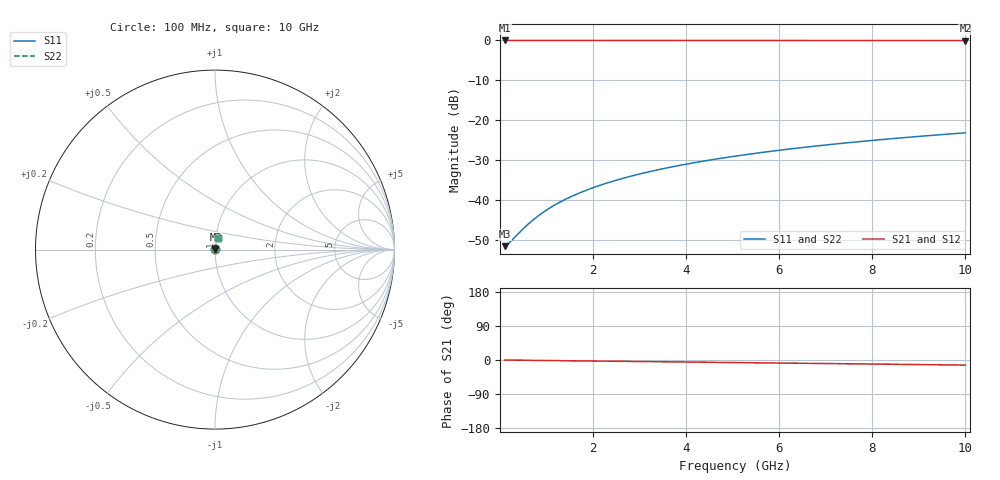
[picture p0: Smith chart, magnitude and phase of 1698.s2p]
# Hz S RI R 50.00
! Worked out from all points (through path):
!   100 points, 100 MHz to 10 GHz, reference 50 ohm
!   highest |S21| = -0.02 dB at 100 MHz (marker M1); lowest = 0.0 dB at 10 GHz (marker M2)
!   group delay of S21, straight-line fit = 3.71 ps
!   lowest |S11| = -51.5 dB at 100 MHz (marker M3), VSWR 1.01, Z = 50.3 + j0.0699 ohm
!   |S11| at or under -10 dB: start of sweep to end of sweep
!   |S22| runs from -51.5 to -23.2 dB; largest |S21 - S12| = 0
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1e8  0.00255 0.000696  0.9974 -0.00233  0.9974 -0.00233  0.00255 0.000696
2e8  0.00257 0.00139  0.9974 -0.00465  0.9974 -0.00465  0.00257 0.00139
5e8  0.00264 0.00348  0.9973 -0.0116  0.9973 -0.0116  0.00264 0.00348
6e8  0.00266 0.00417  0.9973 -0.014  0.9973 -0.014  0.00266 0.00417
7e8  0.00269 0.00487  0.9972 -0.0163  0.9972 -0.0163  0.00269 0.00487
9e8  0.00275 0.00626  0.9971 -0.0209  0.9971 -0.0209  0.00275 0.00626
1.1e9  0.00283 0.00765  0.997 -0.0256  0.997 -0.0256  0.00283 0.00765
1.3e9  0.00291 0.00904  0.9968 -0.0302  0.9968 -0.0302  0.00291 0.00904
1.5e9  0.00301 0.0104  0.9967 -0.0349  0.9967 -0.0349  0.00301 0.0104
1.8e9  0.00318 0.0125  0.9964 -0.0418  0.9964 -0.0418  0.00318 0.0125
2.1e9  0.00338 0.0146  0.996 -0.0488  0.996 -0.0488  0.00338 0.0146
2.5e9  0.00369 0.0173  0.9954 -0.0581  0.9954 -0.0581  0.00369 0.0173
2.9e9  0.00405 0.0201  0.9948 -0.0674  0.9948 -0.0674  0.00405 0.0201
3.4e9  0.00457 0.0235  0.9938 -0.079  0.9938 -0.079  0.00457 0.0235
3.8e9  0.00505 0.0263  0.993 -0.0882  0.993 -0.0882  0.00505 0.0263
4.2e9  0.00557 0.029  0.992 -0.0975  0.992 -0.0975  0.00557 0.029
5.1e9  0.00694 0.0351  0.9895 -0.1182  0.9895 -0.1182  0.00694 0.0351
5.9e9  0.00837 0.0405  0.9869 -0.1367  0.9869 -0.1367  0.00837 0.0405
6.7e9  0.00999 0.0458  0.9839 -0.155  0.9839 -0.155  0.00999 0.0458
7.5e9  0.0118 0.051  0.9806 -0.1733  0.9806 -0.1733  0.0118 0.051
8.4e9  0.0141 0.0569  0.9763 -0.1938  0.9763 -0.1938  0.0141 0.0569
1e10  0.0188 0.0669  0.9677 -0.2299  0.9677 -0.2299  0.0188 0.0669
